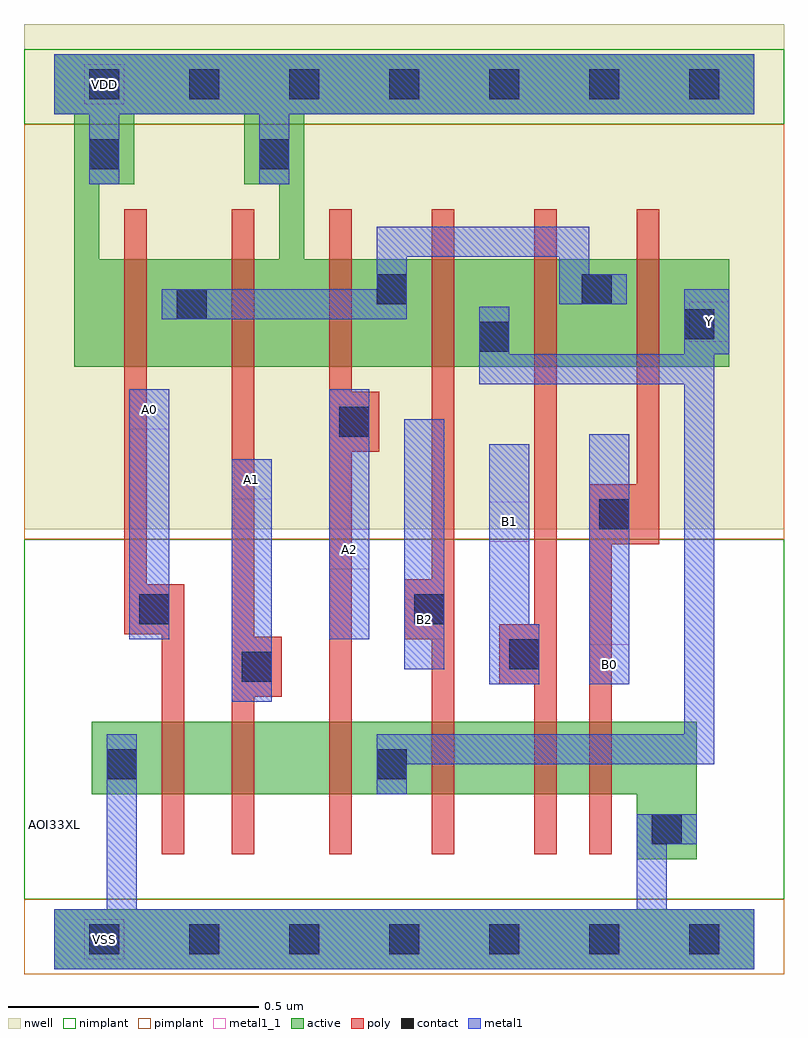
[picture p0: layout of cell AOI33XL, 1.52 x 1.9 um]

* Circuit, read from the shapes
.subckt AOI33XL A0 A1 A2 B0 B1 B2 VDD VSS Y
M1 n1 A0 VSS VSS nfet w=0.145u l=0.045u
M2 n2 A1 n1 VSS nfet w=0.145u l=0.045u
M3 Y A2 n2 VSS nfet w=0.145u l=0.045u
M4 n3 B2 Y VSS nfet w=0.145u l=0.045u
M5 n4 B1 n3 VSS nfet w=0.145u l=0.045u
M6 VSS B0 n4 VSS nfet w=0.145u l=0.045u
M7 n5 A0 VDD VDD pfet w=0.215u l=0.045u
M8 VDD A1 n5 VDD pfet w=0.215u l=0.045u
M9 n5 A2 VDD VDD pfet w=0.215u l=0.045u
M10 Y B2 n5 VDD pfet w=0.215u l=0.045u
M11 n5 B1 Y VDD pfet w=0.215u l=0.045u
M12 Y B0 n5 VDD pfet w=0.215u l=0.045u
.ends

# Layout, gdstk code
import gdstk
lib = gdstk.Library(unit=1e-6, precision=5e-10)
def R(c, l, rs):  # rectangles x0, y0, x1, y1
    for r in rs: c.add(gdstk.rectangle(r[:2], r[2:], *l))
def A(c, l, x, y, w, h, nx, ny, dx, dy):  # array of equal rectangles
    R(c, l, [(x+i*dx, y+j*dy, x+i*dx+w, y+j*dy+h) for i in range(nx) for j in range(ny)])
def P(c, l, *ps):  # polygons
    for p in ps: c.add(gdstk.Polygon(p, *l))
active = (1, 0)
nwell = (2, 0)
poly = (3, 0)
nimplant = (4, 0)
pimplant = (5, 0)
contact = (6, 0)
metal1 = (7, 0)
metal1_1 = (7, 1)

aoi33xl = lib.new_cell('AOI33XL')
R(aoi33xl, active, [(0,-0.06,1.4,0.06)])
P(aoi33xl, active, [(0,1.77),(1.4,1.77),(1.4,1.65),(0.5,1.65),(0.5,1.36),(1.35,1.36),(1.35,1.145),(0.04,1.145),(0.04,1.65),(0.16,1.65),(0.16,1.51),(0.09,1.51),(0.09,1.36),(0.45,1.36),(0.45,1.51),(0.38,1.51),(0.38,1.65),(0,1.65)],
  [(0.075,0.435),(1.285,0.435),(1.285,0.16),(1.165,0.16),(1.165,0.29),(0.075,0.29)])
R(aoi33xl, nwell, [(-0.06,0.82,1.46,1.83)])
P(aoi33xl, poly, [(0.14,1.46),(0.185,1.46),(0.185,0.71),(0.26,0.71),(0.26,0.17),(0.215,0.17),(0.215,0.61),(0.14,0.61)],
  [(0.355,1.46),(0.4,1.46),(0.4,0.605),(0.455,0.605),(0.455,0.485),(0.4,0.485),(0.4,0.17),(0.355,0.17)],
  [(0.55,1.46),(0.595,1.46),(0.595,1.095),(0.65,1.095),(0.65,0.975),(0.595,0.975),(0.595,0.17),(0.55,0.17)],
  [(0.755,1.46),(0.8,1.46),(0.8,0.17),(0.755,0.17),(0.755,0.6),(0.7,0.6),(0.7,0.72),(0.755,0.72)],
  [(0.96,1.46),(1.005,1.46),(1.005,0.17),(0.96,0.17),(0.96,0.51),(0.89,0.51),(0.89,0.63),(0.96,0.63)],
  [(1.165,1.46),(1.21,1.46),(1.21,0.79),(1.115,0.79),(1.115,0.17),(1.07,0.17),(1.07,0.91),(1.165,0.91)])
R(aoi33xl, nimplant, [(-0.06,0.08,1.46,0.8), (-0.06,1.63,1.46,1.78)])
R(aoi33xl, pimplant, [(-0.06,-0.07,1.46,0.08), (-0.06,0.8,1.46,1.63)])
A(aoi33xl, contact, 0.07, -0.03, 0.06, 0.06, 7, 2, 0.2, 1.71)
R(aoi33xl, contact, [(1.195,0.19,1.255,0.25), (0.105,0.32,0.165,0.38), (0.645,0.32,0.705,0.38), (0.375,0.515,0.435,0.575), (0.91,0.54,0.97,0.6), (0.17,0.63,0.23,0.69), (0.72,0.63,0.78,0.69), (1.09,0.82,1.15,0.88), (0.57,1.005,0.63,1.065), (0.85,1.175,0.91,1.235), (1.26,1.2,1.32,1.26), (0.245,1.24,0.305,1.3), (0.645,1.27,0.705,1.33), (1.055,1.27,1.115,1.33), (0.07,1.54,0.13,1.6), (0.41,1.54,0.47,1.6)])
R(aoi33xl, metal1, [(0.355,0.475,0.435,0.96), (1.07,0.51,1.15,1.01), (0.7,0.54,0.78,1.04), (0.15,0.6,0.23,1.1), (0.55,0.6,0.63,1.1)])
P(aoi33xl, metal1, [(0,1.77),(1.4,1.77),(1.4,1.65),(0.47,1.65),(0.47,1.51),(0.41,1.51),(0.41,1.65),(0.13,1.65),(0.13,1.51),(0.07,1.51),(0.07,1.65),(0,1.65)],
  [(0.645,1.425),(1.07,1.425),(1.07,1.33),(1.145,1.33),(1.145,1.27),(1.01,1.27),(1.01,1.365),(0.705,1.365),(0.705,1.24),(0.215,1.24),(0.215,1.3),(0.645,1.3)],
  [(0.85,1.265),(0.91,1.265),(0.91,1.17),(1.26,1.17),(1.26,1.3),(1.35,1.3),(1.35,1.17),(1.32,1.17),(1.32,0.35),(0.705,0.35),(0.705,0.29),(0.645,0.29),(0.645,0.41),(1.26,0.41),(1.26,1.11),(0.85,1.11)],
  [(0.87,0.99),(0.95,0.99),(0.95,0.63),(0.97,0.63),(0.97,0.51),(0.87,0.51)],
  [(0.105,0.41),(0.165,0.41),(0.165,0.06),(1.165,0.06),(1.165,0.25),(1.285,0.25),(1.285,0.19),(1.225,0.19),(1.225,0.06),(1.4,0.06),(1.4,-0.06),(0,-0.06),(0,0.06),(0.105,0.06)])
R(aoi33xl, metal1_1, [(0.06,-0.04,0.14,0.04), (1.07,0.51,1.15,0.59), (0.7,0.6,0.78,0.68), (0.55,0.74,0.63,0.82), (0.87,0.795,0.95,0.875), (0.355,0.88,0.435,0.96), (0.15,1.02,0.23,1.1), (1.27,1.195,1.35,1.275), (0.06,1.67,0.14,1.75)])
aoi33xl.add(gdstk.Label('VSS', (0.1,0), layer=7, texttype=1))
aoi33xl.add(gdstk.Label('Y', (1.31,1.235), layer=7, texttype=1))
aoi33xl.add(gdstk.Label('A0', (0.19,1.06), layer=7, texttype=1))
aoi33xl.add(gdstk.Label('A2', (0.59,0.78), layer=7, texttype=1))
aoi33xl.add(gdstk.Label('B1', (0.91,0.835), layer=7, texttype=1))
aoi33xl.add(gdstk.Label('B0', (1.11,0.55), layer=7, texttype=1))
aoi33xl.add(gdstk.Label('A1', (0.395,0.92), layer=7, texttype=1))
aoi33xl.add(gdstk.Label('B2', (0.74,0.64), layer=7, texttype=1))
aoi33xl.add(gdstk.Label('VDD', (0.1,1.71), layer=7, texttype=1))
aoi33xl.add(gdstk.Label('AOI33XL', (0,0.23), layer=63, texttype=0))

lib.write_gds('AOI33XL.gds')
